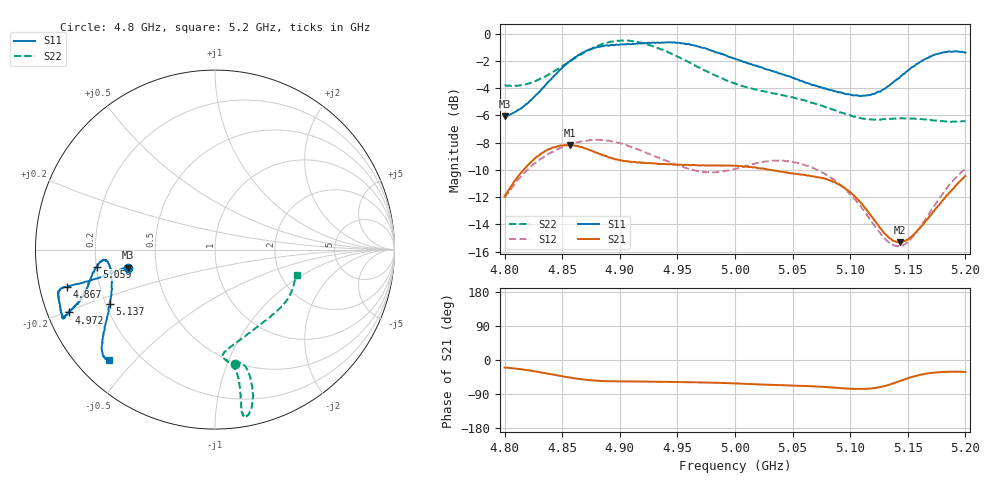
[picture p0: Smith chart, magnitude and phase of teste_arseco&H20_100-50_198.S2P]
! Network Analyzer HP8722D
! Hewlett-Packard
! Data name: Linha & Wilkinson
! Saver's name: Rodrigo Anjos
! Comments: Teste da utilização de aquisição
! continua pelo VNA HP8722D
! Time and date: 6/5/2025 14:13
!  Frequency  S11  S21  S12  S22
# HZ  S  MA R 50
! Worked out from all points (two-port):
!   401 points, 4.8 GHz to 5.2 GHz, reference 50 ohm
!   highest |S21| = -8.16 dB at 4.857 GHz (marker M1); lowest = -15.3 dB at 5.143 GHz (marker M2)
!   |S21| within 3 dB of the highest: 4.806 GHz to 5.092 GHz (286.4 MHz wide, 5.79 % of centre); 5.19155 GHz to end of sweep
!   lowest |S11| = -6.1 dB at 4.8 GHz (marker M3), VSWR 2.98, Z = 16.9 - j4.56 ohm
!   |S11| at or under -10 dB: nowhere
!   |S22| runs from -6.5 to -0.5 dB; largest |S21 - S12| = 0.62
!   S11 on the Smith chart (normalised r, x): 4.8 GHz: 0.34, -0.09; 4.867 GHz: 0.08, -0.12; 4.972 GHz: 0.06, -0.20; 5.059 GHz: 0.20, -0.07; 5.137 GHz: 0.22, -0.23; 5.2 GHz: 0.09, -0.42
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4.8e9  0.4972 -168.3  0.2528 -19.9  0.2491 -141.0  0.6475 -80.3
4.828e9  0.6011 -167.1  0.3542 -30.8  0.3387 -145.0  0.6749 -75.4
4.857e9  0.7964 -166.1  0.3906 -46.5  0.393 -150.4  0.7935 -74.8
4.867e9  0.8489 -165.9  0.3837 -51.0  0.4031 -152.1  0.8442 -75.5
4.88e9  0.8917 -165.5  0.3658 -54.7  0.4082 -154.3  0.8993 -76.8
4.9e9  0.9135 -162.7  0.3433 -56.4  0.3959 -156.6  0.9421 -79.2
4.934e9  0.9268 -156.6  0.3327 -57.4  0.3514 -155.6  0.8831 -80.6
4.949e9  0.9272 -155.6  0.3307 -57.8  0.3309 -153.2  0.8295 -80.1
4.972e9  0.8875 -156.8  0.329 -59.0  0.3111 -146.3  0.7408 -79.8
5e9  0.81 -159.1  0.3276 -62.0  0.3193 -137.3  0.6566 -81.3
5.035e9  0.7237 -165.5  0.3141 -65.9  0.3419 -134.4  0.6025 -85.7
5.059e9  0.6673 -171.6  0.3035 -68.3  0.331 -136.2  0.5708 -84.5
5.067e9  0.6489 -173.2  0.3001 -69.2  0.3228 -136.9  0.5575 -82.6
5.087e9  0.6151 -174.6  0.2848 -73.1  0.2889 -138.7  0.5228 -74.8
5.102e9  0.5946 -171.8  0.2576 -76.0  0.2527 -138.8  0.4987 -65.8
5.117e9  0.595 -164.9  0.2177 -75.3  0.2088 -135.1  0.4847 -55.1
5.134e9  0.6465 -154.4  0.1778 -65.2  0.1708 -120.7  0.4865 -43.3
5.137e9  0.6614 -152.5  0.174 -62.1  0.1678 -116.7  0.4881 -41.5
5.143e9  0.6912 -149.4  0.1714 -55.8  0.166 -108.8  0.4888 -38.0
5.154e9  0.7552 -144.6  0.1814 -44.4  0.1793 -95.0  0.488 -32.3
5.173e9  0.836 -139.0  0.2242 -33.3  0.2336 -80.9  0.4805 -24.2
5.2e9  0.8524 -133.9  0.3006 -31.4  0.3195 -77.0  0.4772 -17.5
